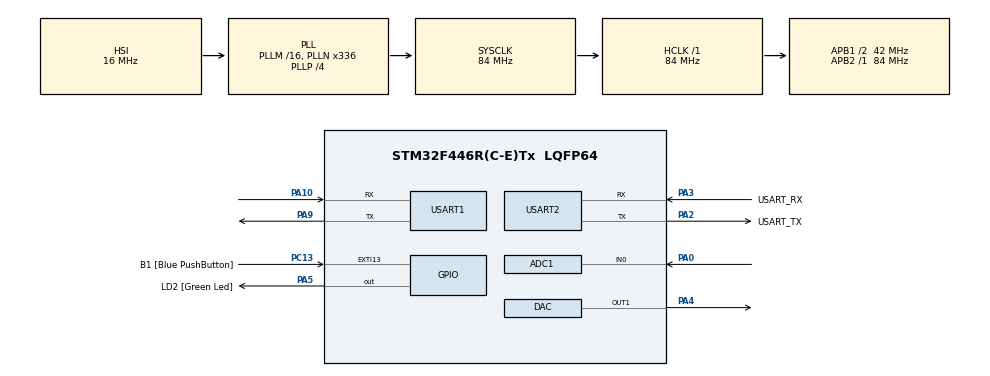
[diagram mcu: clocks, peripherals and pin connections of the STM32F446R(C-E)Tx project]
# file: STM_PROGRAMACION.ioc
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ADC1.Channel-0\#ChannelRegularConversion=ADC_CHANNEL_0
ADC1.ExternalTrigConv=ADC_EXTERNALTRIGCONV_T4_CC4
ADC1.NbrOfConversionFlag=1
ADC1.Rank-0\#ChannelRegularConversion=1
ADC1.SamplingTime-0\#ChannelRegularConversion=ADC_SAMPLETIME_3CYCLES
ADC1.master=1
Mcu.Family=STM32F4
Mcu.Name=STM32F446R(C-E)Tx
Mcu.Package=LQFP64
NVIC.ADC_IRQn=true\:0\:0\:false\:false\:true\:true\:true\:true
NVIC.EXTI15_10_IRQn=true\:0\:0\:false\:false\:true\:true\:true\:true
NVIC.PriorityGroup=NVIC_PRIORITYGROUP_0
NVIC.TIM4_IRQn=true\:0\:0\:false\:false\:true\:true\:true\:true
NVIC.TIM6_DAC_IRQn=true\:0\:0\:false\:false\:true\:true\:true\:true
NVIC.USART1_IRQn=true\:0\:0\:false\:false\:true\:true\:true\:true
NVIC.USART2_IRQn=true\:0\:0\:false\:false\:true\:true\:true\:true
PA0-WKUP.Signal=ADCx_IN0
PA10.Mode=Asynchronous
PA10.Signal=USART1_RX
PA13.GPIO_Label=TMS
PA13.Mode=Serial_Wire
PA13.Signal=SYS_JTMS-SWDIO
PA14.GPIO_Label=TCK
PA14.Mode=Serial_Wire
PA14.Signal=SYS_JTCK-SWCLK
PA2.GPIO_Label=USART_TX
PA2.Mode=Asynchronous
PA2.Signal=USART2_TX
PA3.GPIO_Label=USART_RX
PA3.Mode=Asynchronous
PA3.Signal=USART2_RX
PA4.Signal=COMP_DAC1_group
PA5.GPIO_Label=LD2 [Green Led]
PA5.Signal=GPIO_Output
PA9.Mode=Asynchronous
PA9.Signal=USART1_TX
PB3.GPIO_Label=SWO
PB3.Signal=SYS_JTDO-SWO
PC13.GPIO_Label=B1 [Blue PushButton]
PC13.GPIO_ModeDefaultEXTI=GPIO_MODE_IT_FALLING
PC13.Signal=GPXTI13
PC14-OSC32_IN.Mode=LSE-External-Oscillator
PC14-OSC32_IN.Signal=RCC_OSC32_IN
PC15-OSC32_OUT.Mode=LSE-External-Oscillator
PC15-OSC32_OUT.Signal=RCC_OSC32_OUT
PH0-OSC_IN.Mode=HSE-External-Oscillator
PH0-OSC_IN.Signal=RCC_OSC_IN
PH1-OSC_OUT.Mode=HSE-External-Oscillator
PH1-OSC_OUT.Signal=RCC_OSC_OUT
ProjectManager.HeapSize=0x200
ProjectManager.StackSize=0x400
ProjectManager.TargetToolchain=STM32CubeIDE
RCC.48MHZClocksFreq_Value=84000000
RCC.AHBFreq_Value=84000000
RCC.APB1CLKDivider=RCC_HCLK_DIV2
RCC.APB1Freq_Value=42000000
RCC.APB1TimFreq_Value=84000000
RCC.APB2Freq_Value=84000000
RCC.APB2TimFreq_Value=84000000
RCC.CortexFreq_Value=84000000
RCC.FLatency-AdvancedSettings=FLASH_LATENCY_2
RCC.HCLKFreq_Value=84000000
RCC.HSE_VALUE=8000000
RCC.HSI_VALUE=16000000
RCC.PLLN=336
RCC.PLLP=RCC_PLLP_DIV4
RCC.SYSCLKFreq_VALUE=84000000
RCC.SYSCLKSource=RCC_SYSCLKSOURCE_PLLCLK
RCC.USBFreq_Value=168000000
RCC.VCOOutputFreq_Value=336000000
SH.ADCx_IN0.0=ADC1_IN0,IN0
SH.COMP_DAC1_group.0=DAC_OUT1,DAC_OUT1
TIM4.Period=124
TIM4.Prescaler=84-1
USART1.VirtualMode=VM_ASYNC
USART2.VirtualMode=VM_ASYNC
VP_TIM4_VS_ClockSourceITR.Mode=TriggerSource_ITR0
VP_TIM4_VS_ControllerModeTrigger.Mode=Trigger Mode
board=NUCLEO-F446RE

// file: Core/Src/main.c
/* USER CODE BEGIN Header */
/**
  ******************************************************************************
  * @file           : main.c
  * @brief          : Main program body
  ******************************************************************************
  */
/* USER CODE END Header */
#include "main.h"

/* USER CODE BEGIN Includes */
#include <string.h>
#include <stdio.h>
#include <stdlib.h>
/* USER CODE END Includes */

/* USER CODE BEGIN PD */
#define MAX_ORDER 20
#define MAX_SEC 10
#define RX_BUF_SIZE 256
#define MAX_CAPTURE 10000
/* USER CODE END PD */

ADC_HandleTypeDef hadc1;

DAC_HandleTypeDef hdac;

TIM_HandleTypeDef htim4;

UART_HandleTypeDef huart1;
UART_HandleTypeDef huart2;

/* USER CODE BEGIN PV */

//FILTRO EN BIQUADS, CADA SECCION TIENE 6 COEFICIENTES
float sos[MAX_SEC][6];
int n_sec = 0;
float ganancia = 1.0f;

//MEMORIA DE CADA BIQUAD
float z1[MAX_SEC] = {0};
float z2[MAX_SEC] = {0};

//UART
uint8_t rx_byte;
char rx_buffer[RX_BUF_SIZE];
int rx_index = 0;
volatile uint8_t linea_lista = 0;

//BUFFER DE CAPTURA
uint16_t captura_buf[MAX_CAPTURE];

/* USER CODE END PV */

void SystemClock_Config(void);
static void MX_GPIO_Init(void);
static void MX_ADC1_Init(void);
static void MX_DAC_Init(void);
static void MX_TIM4_Init(void);
static void MX_USART1_UART_Init(void);
static void MX_USART2_UART_Init(void);
/* USER CODE BEGIN PFP */
void enviar_uart(char *msg);
void limpiar_buffers_filtro(void);
float aplicar_filtro_iir(float x_nuevo);
uint16_t leer_adc(void);
void esperar_timer(void);
/* USER CODE END PFP */

/* USER CODE BEGIN 0 */

void HAL_UART_RxCpltCallback(UART_HandleTypeDef *huart)
{
    if (huart->Instance == USART2)
    {
        if (rx_byte == '\n' || rx_byte == '\r')
        {
            if (rx_index > 0)
            {
                rx_buffer[rx_index] = '\0';
                linea_lista = 1;
            }
        }
        else
        {
            if (rx_index < RX_BUF_SIZE - 1)
            {
                rx_buffer[rx_index] = rx_byte;
                rx_index++;
            }
        }
        HAL_UART_Receive_IT(&huart2, &rx_byte, 1);
    }
}

void enviar_uart(char *msg)
{
    HAL_UART_Transmit(&huart2, (uint8_t *)msg, strlen(msg), 100);
}

void limpiar_buffers_filtro(void)
{
    for (int i = 0; i < MAX_SEC; i++)
    {
        z1[i] = 0.0f;
        z2[i] = 0.0f;
    }
}

//ESPERA AL TIMER PARA MUESTREAR A 8000HZ
void esperar_timer(void)
{
    while (__HAL_TIM_GET_FLAG(&htim4, TIM_FLAG_UPDATE) == RESET) {}
    __HAL_TIM_CLEAR_FLAG(&htim4, TIM_FLAG_UPDATE);
}

//FILTRO IIR EN BIQUADS (SECCIONES EN CASCADA)
float aplicar_filtro_iir(float x_nuevo)
{
    //SIN FILTRO PASA DIRECTO
    if (n_sec == 0)
    {
        return x_nuevo;
    }

    float x = x_nuevo * ganancia;

    for (int s = 0; s < n_sec; s++)
    {
        float b0 = sos[s][0];
        float b1 = sos[s][1];
        float b2 = sos[s][2];
        float a1 = sos[s][4];
        float a2 = sos[s][5];

        float y = b0 * x + z1[s];
        z1[s] = b1 * x - a1 * y + z2[s];
        z2[s] = b2 * x - a2 * y;

        x = y;  //SALIDA PASA A LA SIGUIENTE SECCION
    }

    return x;
}

uint16_t leer_adc(void)
{
    uint16_t val = 0;
    HAL_ADC_Start(&hadc1);
    if (HAL_ADC_PollForConversion(&hadc1, 5) == HAL_OK)
    {
        val = HAL_ADC_GetValue(&hadc1);
    }
    HAL_ADC_Stop(&hadc1);
    return val;
}

/* USER CODE END 0 */

int main(void)
{

  /* MCU Configuration--------------------------------------------------------*/

  /* Reset of all peripherals, Initializes the Flash interface and the Systick. */
  HAL_Init();

  /* Configure the system clock */
  SystemClock_Config();

  /* Initialize all configured peripherals */
  MX_GPIO_Init();
  MX_ADC1_Init();
  MX_DAC_Init();
  MX_TIM4_Init();
  MX_USART1_UART_Init();
  MX_USART2_UART_Init();
  /* USER CODE BEGIN 2 */

  //ARRANCAR DAC
  HAL_DAC_Start(&hdac, DAC_CHANNEL_1);

  //TIM4 EN MODO LIBRE A 8000HZ
  htim4.Instance->SMCR = 0;
  htim4.Init.Prescaler = 84 - 1;
  htim4.Init.Period = 124;
  HAL_TIM_Base_Init(&htim4);
  HAL_TIM_Base_Start(&htim4);

  //ARRANCAR UART CON INTERRUPCION
  HAL_NVIC_SetPriority(USART2_IRQn, 0, 0);
  HAL_NVIC_EnableIRQ(USART2_IRQn);
  HAL_UART_Receive_IT(&huart2, &rx_byte, 1);

  HAL_GPIO_WritePin(LD2_GPIO_Port, LD2_Pin, GPIO_PIN_RESET);

  char tx_buf[32];

  /* USER CODE END 2 */

  /* Infinite loop */
  while (1)
  {

    /* USER CODE BEGIN 3 */

      //ESPERAR AL TIMER (8000HZ)
      esperar_timer();

      //LEER ADC
      uint16_t adc_val = leer_adc();
      float x_in = ((float)adc_val / 2048.0f) - 1.0f;

      //APLICAR FILTRO
      float y_out = aplicar_filtro_iir(x_in);

      float dac_float = (y_out + 1.0f) * 2048.0f;
      if (dac_float < 0.0f) { dac_float = 0.0f; }
      if (dac_float > 4095.0f) { dac_float = 4095.0f; }
      uint16_t dac_val = (uint16_t)dac_float;

      //ESCRIBIR AL DAC
      HAL_DAC_SetValue(&hdac, DAC_CHANNEL_1, DAC_ALIGN_12B_R, dac_val);

      //REVISAR UART
      if (linea_lista)
      {
          //CAPTURE N
          if (strncmp(rx_buffer, "CAPTURE", 7) == 0)
          {
              int N = atoi(rx_buffer + 8);
              if (N <= 0 || N > MAX_CAPTURE) { N = 1000; }

              HAL_GPIO_WritePin(LD2_GPIO_Port, LD2_Pin, GPIO_PIN_SET);

              //LIMPIAR FLAG ANTES DE CAPTURAR
              __HAL_TIM_CLEAR_FLAG(&htim4, TIM_FLAG_UPDATE);

              //LLENAR BUFFER A 8000HZ
              for (int i = 0; i < N; i++)
              {
                  esperar_timer();
                  captura_buf[i] = leer_adc();
              }

              //MANDAR TODO POR UART
              for (int i = 0; i < N; i++)
              {
                  sprintf(tx_buf, "%u\n", captura_buf[i]);
                  enviar_uart(tx_buf);
              }

              HAL_GPIO_WritePin(LD2_GPIO_Port, LD2_Pin, GPIO_PIN_RESET);
          }

          //SOS N (RECIBIR FILTRO EN BIQUADS)
          else if (strncmp(rx_buffer, "SOS", 3) == 0)
          {
              int n = atoi(rx_buffer + 4);
              if (n > 0 && n <= MAX_SEC)
              {
                  //RECIBIR GANANCIA
                  linea_lista = 0;
                  rx_index = 0;
                  while (!linea_lista) {}
                  ganancia = (float)atof(rx_buffer);
                  linea_lista = 0;
                  rx_index = 0;

                  //RECIBIR CADA SECCION (6 COEFICIENTES)
                  for (int s = 0; s < n; s++)
                  {
                      for (int j = 0; j < 6; j++)
                      {
                          linea_lista = 0;
                          rx_index = 0;
                          while (!linea_lista) {}
                          sos[s][j] = (float)atof(rx_buffer);
                          linea_lista = 0;
                          rx_index = 0;
                      }
                  }

                  n_sec = n;
                  limpiar_buffers_filtro();
                  enviar_uart("SOS_OK\n");
              }
          }

          linea_lista = 0;
          rx_index = 0;
      }
  }
  /* USER CODE END 3 */
}

void SystemClock_Config(void)
{
  RCC_OscInitTypeDef RCC_OscInitStruct = {0};
  RCC_ClkInitTypeDef RCC_ClkInitStruct = {0};

  __HAL_RCC_PWR_CLK_ENABLE();
  __HAL_PWR_VOLTAGESCALING_CONFIG(PWR_REGULATOR_VOLTAGE_SCALE3);

  RCC_OscInitStruct.OscillatorType = RCC_OSCILLATORTYPE_HSI;
  RCC_OscInitStruct.HSIState = RCC_HSI_ON;
  RCC_OscInitStruct.HSICalibrationValue = RCC_HSICALIBRATION_DEFAULT;
  RCC_OscInitStruct.PLL.PLLState = RCC_PLL_ON;
  RCC_OscInitStruct.PLL.PLLSource = RCC_PLLSOURCE_HSI;
  RCC_OscInitStruct.PLL.PLLM = 16;
  RCC_OscInitStruct.PLL.PLLN = 336;
  RCC_OscInitStruct.PLL.PLLP = RCC_PLLP_DIV4;
  RCC_OscInitStruct.PLL.PLLQ = 2;
  RCC_OscInitStruct.PLL.PLLR = 2;
  if (HAL_RCC_OscConfig(&RCC_OscInitStruct) != HAL_OK)
  {
    Error_Handler();
  }

  RCC_ClkInitStruct.ClockType = RCC_CLOCKTYPE_HCLK|RCC_CLOCKTYPE_SYSCLK
                              |RCC_CLOCKTYPE_PCLK1|RCC_CLOCKTYPE_PCLK2;
  RCC_ClkInitStruct.SYSCLKSource = RCC_SYSCLKSOURCE_PLLCLK;
  RCC_ClkInitStruct.AHBCLKDivider = RCC_SYSCLK_DIV1;
  RCC_ClkInitStruct.APB1CLKDivider = RCC_HCLK_DIV2;
  RCC_ClkInitStruct.APB2CLKDivider = RCC_HCLK_DIV1;

  if (HAL_RCC_ClockConfig(&RCC_ClkInitStruct, FLASH_LATENCY_2) != HAL_OK)
  {
    Error_Handler();
  }
}

static void MX_ADC1_Init(void)
{

  ADC_ChannelConfTypeDef sConfig = {0};

  /** Configure the global features of the ADC (Clock, Resolution, Data Alignment and number of conversion)
  */
  hadc1.Instance = ADC1;
  hadc1.Init.ClockPrescaler = ADC_CLOCK_SYNC_PCLK_DIV4;
  hadc1.Init.Resolution = ADC_RESOLUTION_12B;
  hadc1.Init.ScanConvMode = DISABLE;
  hadc1.Init.ContinuousConvMode = DISABLE;
  hadc1.Init.DiscontinuousConvMode = DISABLE;
  hadc1.Init.ExternalTrigConvEdge = ADC_EXTERNALTRIGCONVEDGE_RISING;
  hadc1.Init.ExternalTrigConv = ADC_EXTERNALTRIGCONV_T4_CC4;
  hadc1.Init.DataAlign = ADC_DATAALIGN_RIGHT;
  hadc1.Init.NbrOfConversion = 1;
  hadc1.Init.DMAContinuousRequests = DISABLE;
  hadc1.Init.EOCSelection = ADC_EOC_SINGLE_CONV;
  if (HAL_ADC_Init(&hadc1) != HAL_OK)
  {
    Error_Handler();
  }

  /** Configure for the selected ADC regular channel its corresponding rank in the sequencer and its sample time.
  */
  sConfig.Channel = ADC_CHANNEL_0;
  sConfig.Rank = 1;
  sConfig.SamplingTime = ADC_SAMPLETIME_3CYCLES;
  if (HAL_ADC_ConfigChannel(&hadc1, &sConfig) != HAL_OK)
  {
    Error_Handler();
  }
  /* USER CODE BEGIN ADC1_Init 2 */

  //FORZAR SOFTWARE TRIGGER (SINO EL ADC LEE 0)
  hadc1.Init.ExternalTrigConvEdge = ADC_EXTERNALTRIGCONVEDGE_NONE;
  hadc1.Init.ExternalTrigConv = ADC_SOFTWARE_START;
  HAL_ADC_Init(&hadc1);

  /* USER CODE END ADC1_Init 2 */

}

static void MX_DAC_Init(void)
{

  DAC_ChannelConfTypeDef sConfig = {0};

  /** DAC Initialization
  */
  hdac.Instance = DAC;
  if (HAL_DAC_Init(&hdac) != HAL_OK)
  {
    Error_Handler();
  }

  /** DAC channel OUT1 config
  */
  sConfig.DAC_Trigger = DAC_TRIGGER_NONE;
  sConfig.DAC_OutputBuffer = DAC_OUTPUTBUFFER_ENABLE;
  if (HAL_DAC_ConfigChannel(&hdac, &sConfig, DAC_CHANNEL_1) != HAL_OK)
  {
    Error_Handler();
  }

}

static void MX_TIM4_Init(void)
{

  TIM_SlaveConfigTypeDef sSlaveConfig = {0};
  TIM_MasterConfigTypeDef sMasterConfig = {0};

  htim4.Instance = TIM4;
  htim4.Init.Prescaler = 84-1;
  htim4.Init.CounterMode = TIM_COUNTERMODE_UP;
  htim4.Init.Period = 124;
  htim4.Init.ClockDivision = TIM_CLOCKDIVISION_DIV1;
  htim4.Init.AutoReloadPreload = TIM_AUTORELOAD_PRELOAD_DISABLE;
  if (HAL_TIM_Base_Init(&htim4) != HAL_OK)
  {
    Error_Handler();
  }
  sSlaveConfig.SlaveMode = TIM_SLAVEMODE_TRIGGER;
  sSlaveConfig.InputTrigger = TIM_TS_ITR0;
  if (HAL_TIM_SlaveConfigSynchro(&htim4, &sSlaveConfig) != HAL_OK)
  {
    Error_Handler();
  }
  sMasterConfig.MasterOutputTrigger = TIM_TRGO_RESET;
  sMasterConfig.MasterSlaveMode = TIM_MASTERSLAVEMODE_DISABLE;
  if (HAL_TIMEx_MasterConfigSynchronization(&htim4, &sMasterConfig) != HAL_OK)
  {
    Error_Handler();
  }

}

static void MX_USART1_UART_Init(void)
{

  huart1.Instance = USART1;
  huart1.Init.BaudRate = 115200;
  huart1.Init.WordLength = UART_WORDLENGTH_8B;
  huart1.Init.StopBits = UART_STOPBITS_1;
  huart1.Init.Parity = UART_PARITY_NONE;
  huart1.Init.Mode = UART_MODE_TX_RX;
  huart1.Init.HwFlowCtl = UART_HWCONTROL_NONE;
  huart1.Init.OverSampling = UART_OVERSAMPLING_16;
  if (HAL_UART_Init(&huart1) != HAL_OK)
  {
    Error_Handler();
  }

}

static void MX_USART2_UART_Init(void)
{

  huart2.Instance = USART2;
  huart2.Init.BaudRate = 115200;
  huart2.Init.WordLength = UART_WORDLENGTH_8B;
  huart2.Init.StopBits = UART_STOPBITS_1;
  huart2.Init.Parity = UART_PARITY_NONE;
  huart2.Init.Mode = UART_MODE_TX_RX;
  huart2.Init.HwFlowCtl = UART_HWCONTROL_NONE;
  huart2.Init.OverSampling = UART_OVERSAMPLING_16;
  if (HAL_UART_Init(&huart2) != HAL_OK)
  {
    Error_Handler();
  }

}

static void MX_GPIO_Init(void)
{
  GPIO_InitTypeDef GPIO_InitStruct = {0};

  /* GPIO Ports Clock Enable */
  __HAL_RCC_GPIOC_CLK_ENABLE();
  __HAL_RCC_GPIOH_CLK_ENABLE();
  __HAL_RCC_GPIOA_CLK_ENABLE();
  __HAL_RCC_GPIOB_CLK_ENABLE();

  /*Configure GPIO pin Output Level */
  HAL_GPIO_WritePin(LD2_GPIO_Port, LD2_Pin, GPIO_PIN_RESET);

  /*Configure GPIO pin : B1_Pin */
  GPIO_InitStruct.Pin = B1_Pin;
  GPIO_InitStruct.Mode = GPIO_MODE_IT_FALLING;
  GPIO_InitStruct.Pull = GPIO_NOPULL;
  HAL_GPIO_Init(B1_GPIO_Port, &GPIO_InitStruct);

  /*Configure GPIO pin : LD2_Pin */
  GPIO_InitStruct.Pin = LD2_Pin;
  GPIO_InitStruct.Mode = GPIO_MODE_OUTPUT_PP;
  GPIO_InitStruct.Pull = GPIO_NOPULL;
  GPIO_InitStruct.Speed = GPIO_SPEED_FREQ_LOW;
  HAL_GPIO_Init(LD2_GPIO_Port, &GPIO_InitStruct);

  /* EXTI interrupt init*/
  HAL_NVIC_SetPriority(EXTI15_10_IRQn, 0, 0);
  HAL_NVIC_EnableIRQ(EXTI15_10_IRQn);

}

void Error_Handler(void)
{
  __disable_irq();
  while (1)
  {
  }
}
